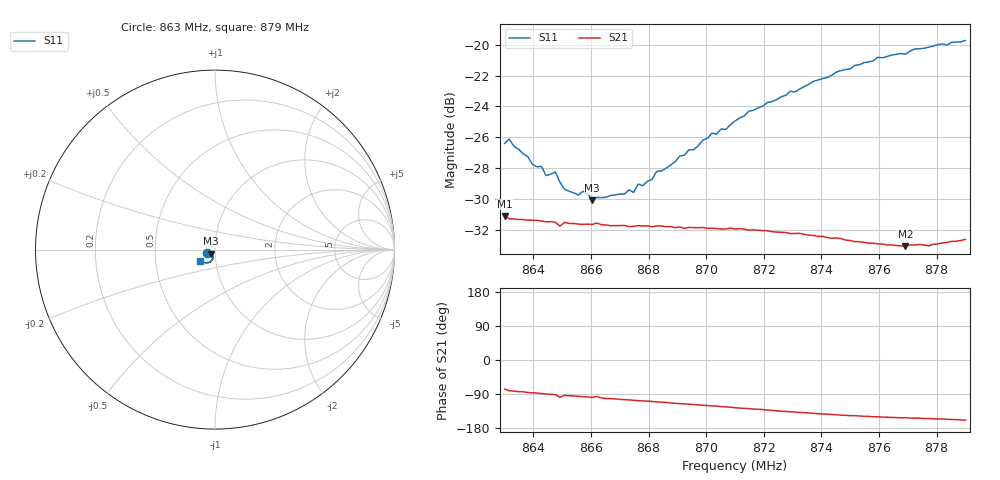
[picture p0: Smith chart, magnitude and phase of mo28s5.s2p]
# HZ S RI R 50
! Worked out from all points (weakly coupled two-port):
!   101 points, 863 MHz to 879 MHz, reference 50 ohm
!   highest |S21| = -31.08 dB at 863 MHz (marker M1); lowest = -33.0 dB at 876.92 MHz (marker M2)
!   lowest |S11| = -30.1 dB at 866.04 MHz (marker M3), VSWR 1.06, Z = 47.8 - j2.19 ohm
!   |S11| at or under -10 dB: start of sweep to end of sweep
!   S12 and S22 are empty: the file has one direction only
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8.63e8  -0.0435 -0.0201  0.00634 -0.0272  0 0  0 0
8.6316e8  -0.0457 -0.019  0.00429 -0.027  0 0  0 0
8.6396e8  -0.0365 -0.0188  0.00161 -0.027  0 0  0 0
8.6428e8  -0.0352 -0.0197  0.000565 -0.0269  0 0  0 0
8.6444e8  -0.0331 -0.018  0.000239 -0.0267  0 0  0 0
8.6476e8  -0.0331 -0.0201  -0.00059 -0.0266  0 0  0 0
8.6492e8  -0.0302 -0.0194  -0.0039 -0.0256  0 0  0 0
8.6508e8  -0.0269 -0.0209  -0.00149 -0.0266  0 0  0 0
8.6556e8  -0.0248 -0.0212  -0.00277 -0.0261  0 0  0 0
8.6572e8  -0.0241 -0.0233  -0.00306 -0.026  0 0  0 0
8.6604e8  -0.0215 -0.0228  -0.00406 -0.0259  0 0  0 0
8.6748e8  -0.014 -0.0302  -0.00722 -0.0248  0 0  0 0
8.6764e8  -0.0156 -0.0318  -0.00769 -0.0248  0 0  0 0
8.678e8  -0.0131 -0.0324  -0.00796 -0.0246  0 0  0 0
8.6844e8  -0.0116 -0.0373  -0.00937 -0.0242  0 0  0 0
8.702e8  -0.0131 -0.05  -0.0132 -0.0218  0 0  0 0
8.7068e8  -0.0119 -0.0518  -0.0141 -0.021  0 0  0 0
8.71e8  -0.0137 -0.0549  -0.0149 -0.0205  0 0  0 0
8.7372e8  -0.0287 -0.0704  -0.0187 -0.0153  0 0  0 0
8.7644e8  -0.0567 -0.0731  -0.0198 -0.0107  0 0  0 0
8.7692e8  -0.0604 -0.0709  -0.0197 -0.0104  0 0  0 0
8.79e8  -0.0827 -0.0616  -0.0219 -0.00843  0 0  0 0
